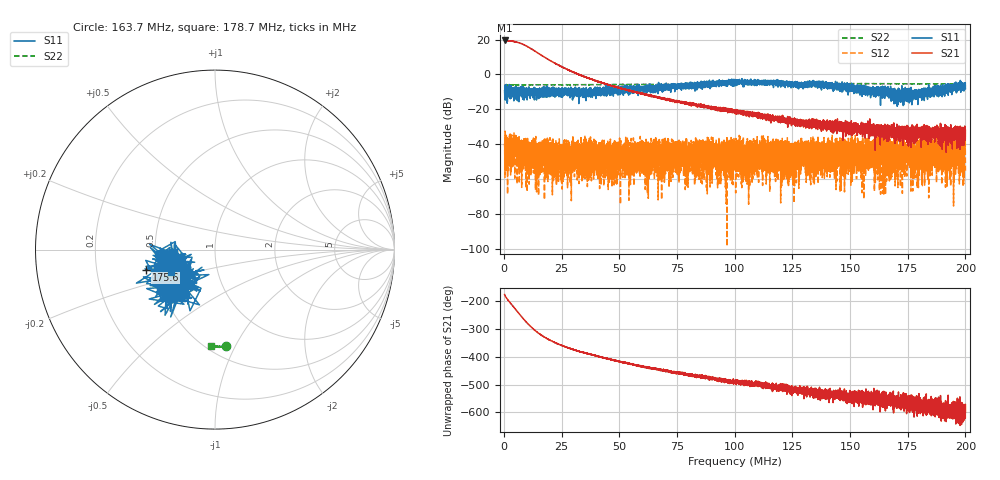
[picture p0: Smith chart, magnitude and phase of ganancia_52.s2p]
# Hz S DB R 50
! CMT, M5065, 19127446, 24.2.4/2
! Date: 10/29/2024 12:47:26 PM
! Data: Format (Calibration Info)
! Freq	S11:dB/Ang(F2)	S21:dB/Ang(F2)	S12:dB/Ang(F2)	S22:dB/Ang(F2)
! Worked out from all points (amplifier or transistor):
!   9000 points, 300 kHz to 200 MHz, reference 50 ohm
!   highest |S21| = 19.5 dB at 433.1 kHz (marker M1)
!   |S21| within 3 dB of that: start of sweep to 9.499 MHz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
!   unconditionally stable (mu >= 1): start of sweep to end of sweep
!   at 33.59 MHz: K = 38.25, MAG = 1.1 dB, |S12| = -40.5 dB
!   at 100.2 MHz: K = 1162.84, MAG = -16.9 dB, |S12| = -55.0 dB
!   at 200 MHz: K = 6947.59, MAG = -29.8 dB, |S12| = -55.2 dB
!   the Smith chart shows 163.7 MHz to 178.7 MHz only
!   S11 on the Smith chart (normalised r, x): 163.7 MHz: 0.56, -0.34; 175.6 MHz: 0.43, -0.12; 178.7 MHz: 0.59, -0.16
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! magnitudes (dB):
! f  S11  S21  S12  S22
! 300 kHz  -9.4  19.4  -40.7  -6.0
! 433.1 kHz  -9.3  19.5  -40.1  -6.0
! 14.3 MHz  -10.5  12.7  -49.5  -5.9
! 16.83 MHz  -9.1  10.6  -48.9  -5.9
! 22.4 MHz  -11.3  6.3  -39.2  -5.9
! 33.59 MHz  -10.5  -0.6  -40.5  -5.9
! 58.71 MHz  -8.4  -10.5  -42.6  -5.7
! 61.57 MHz  -7.7  -11.5  -45.3  -5.7
! 66.87 MHz  -9.5  -13.1  -38.3  -5.7
! 100.2 MHz  -2.8  -21.5  -55.0  -5.6
! 133.4 MHz  -5.4  -28.6  -56.6  -5.3
! 151.4 MHz  -6.9  -28.6  -46.8  -5.3
! 163.7 MHz  -9.2  -33.7  -41.8  -5.3
! 166.7 MHz  -9.4  -32.4  -55.8  -5.3
! 175.6 MHz  -7.9  -31.4  -42.7  -5.3
! 178.7 MHz  -11.2  -33.5  -48.9  -5.4
! 182.6 MHz  -10.8  -33.6  -45.9  -5.4
! 184.6 MHz  -8.2  -33.6  -40.4  -5.4
! 187 MHz  -11.1  -30.9  -49.1  -5.4
! 192.3 MHz  -5.3  -35.9  -50.3  -5.5
! 199 MHz  -7.4  -35.4  -48.4  -5.5
! 200 MHz  -8.2  -32.0  -55.2  -5.5
